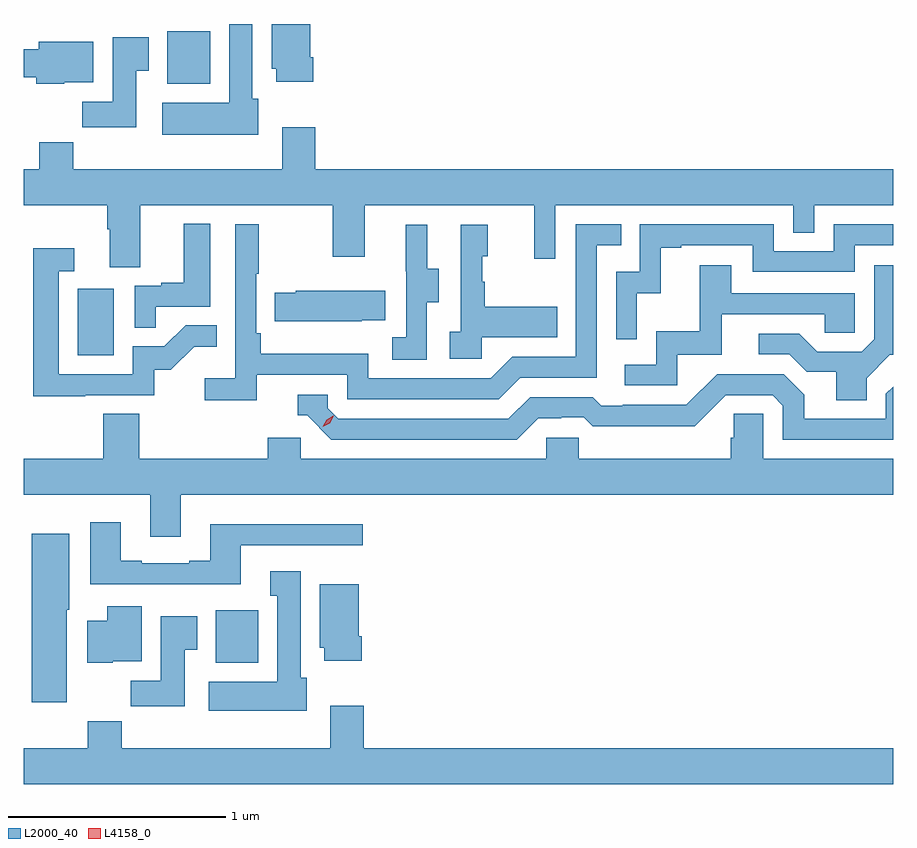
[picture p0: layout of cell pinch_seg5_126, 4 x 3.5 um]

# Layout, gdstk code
import gdstk
lib = gdstk.Library(unit=1e-6, precision=1e-09)
def R(c, l, rs):  # rectangles x0, y0, x1, y1
    for r in rs: c.add(gdstk.rectangle(r[:2], r[2:], *l))
def P(c, l, *ps):  # polygons
    for p in ps: c.add(gdstk.Polygon(p, *l))
L2000_40 = (2000, 40)
L4158_0 = (4158, 0)

pinch_seg5_126 = lib.new_cell('pinch_seg5_126')
R(pinch_seg5_126, L2000_40, [(1077.929,883.958,1078.126,884.2), (1077.296,885.372,1077.46,885.679), (1077.707,886.622,1077.904,886.864)])
P(pinch_seg5_126, L2000_40, [(1078.379,886.744),(1078.366,886.744),(1078.366,886.897),(1078.187,886.897),(1078.187,886.692),(1078.208,886.692),(1078.208,886.632),(1078.379,886.632)],
  [(1078.126,886.554),(1078.099,886.554),(1078.099,886.897),(1077.992,886.897),(1077.992,886.534),(1077.683,886.534),(1077.683,886.388),(1078.126,886.388)],
  [(1077.565,886.681),(1077.622,886.681),(1077.622,886.837),(1077.455,886.837),(1077.455,886.54),(1077.316,886.54),(1077.316,886.422),(1077.565,886.422)],
  [(1077.234,886.628),(1077.367,886.628),(1077.367,886.816),(1077.116,886.816),(1077.116,886.78),(1077.047,886.78),(1077.047,886.651),(1077.104,886.651),(1077.104,886.622),(1077.234,886.622)],
  [(1077.583,886.064),(1078.468,886.064),(1078.468,885.825),(1078.615,885.825),(1078.615,886.064),(1079.396,886.064),(1079.396,885.816),(1079.493,885.816),(1079.493,886.064),(1080.588,886.064),(1080.588,885.937),(1080.684,885.937),(1080.684,886.064),(1081.047,886.064),(1081.047,886.228),(1078.388,886.228),(1078.388,886.423),(1078.235,886.423),(1078.235,886.228),(1077.275,886.228),(1077.275,886.352),(1077.119,886.352),(1077.119,886.228),(1077.047,886.228),(1077.047,886.064),(1077.431,886.064),(1077.431,885.952),(1077.443,885.952),(1077.443,885.778),(1077.583,885.778)],
  [(1077.653,885.597),(1077.904,885.597),(1077.904,885.979),(1077.782,885.979),(1077.782,885.706),(1077.679,885.706),(1077.679,885.693),(1077.558,885.693),(1077.558,885.499),(1077.653,885.499)],
  [(1078.118,885.282),(1078.536,885.282),(1078.536,885.171),(1079.233,885.171),(1079.332,885.27),(1079.682,885.27),(1079.682,885.879),(1079.795,885.879),(1079.795,885.975),(1079.586,885.975),(1079.586,885.366),(1079.295,885.366),(1079.196,885.267),(1078.632,885.267),(1078.632,885.379),(1078.136,885.379),(1078.136,885.475),(1078.116,885.475),(1078.116,885.748),(1078.129,885.748),(1078.129,885.976),(1078.02,885.976),(1078.02,885.268),(1077.879,885.268),(1077.879,885.166),(1078.118,885.166)],
  [(1079.868,885.659),(1079.978,885.659),(1079.978,885.867),(1080.073,885.867),(1080.073,885.879),(1080.402,885.879),(1080.402,885.756),(1080.87,885.756),(1080.87,885.879),(1081.047,885.879),(1081.047,885.975),(1080.774,885.975),(1080.774,885.852),(1080.498,885.852),(1080.498,885.975),(1079.88,885.975),(1079.88,885.756),(1079.772,885.756),(1079.772,885.447),(1079.868,885.447)],
  [(1078.902,885.616),(1078.957,885.616),(1078.957,885.771),(1078.903,885.771),(1078.903,885.973),(1078.805,885.973),(1078.805,885.759),(1078.806,885.759),(1078.806,885.455),(1078.743,885.455),(1078.743,885.352),(1078.902,885.352)],
  [(1079.154,885.455),(1079.501,885.455),(1079.501,885.595),(1079.167,885.595),(1079.167,885.71),(1079.157,885.71),(1079.157,885.828),(1079.182,885.828),(1079.182,885.973),(1079.058,885.973),(1079.058,885.482),(1079.007,885.482),(1079.007,885.357),(1079.154,885.357)],
  [(1077.329,885.189),(1077.648,885.189),(1077.648,885.306),(1077.724,885.306),(1077.831,885.413),(1077.935,885.413),(1077.935,885.512),(1077.792,885.512),(1077.694,885.414),(1077.549,885.414),(1077.549,885.285),(1077.207,885.285),(1077.207,885.759),(1077.28,885.759),(1077.28,885.865),(1077.091,885.865),(1077.091,885.184),(1077.329,885.184)],
  [(1080.925,885.268),(1081.032,885.375),(1081.047,885.375),(1081.047,885.787),(1080.96,885.787),(1080.96,885.447),(1080.903,885.39),(1080.697,885.39),(1080.616,885.471),(1080.429,885.471),(1080.429,885.378),(1080.57,885.378),(1080.65,885.298),(1080.785,885.298),(1080.785,885.166),(1080.925,885.166)],
  [(1080.054,885.375),(1080.259,885.375),(1080.259,885.561),(1080.733,885.561),(1080.733,885.477),(1080.87,885.477),(1080.87,885.657),(1080.301,885.657),(1080.301,885.787),(1080.157,885.787),(1080.157,885.484),(1079.958,885.484),(1079.958,885.33),(1079.811,885.33),(1079.811,885.234),(1080.054,885.234)],
  [(1078.601,885.533),(1078.709,885.533),(1078.709,885.67),(1078.299,885.67),(1078.299,885.66),(1078.201,885.66),(1078.201,885.53),(1078.601,885.53)],
  [(1079.413,885.084),(1079.52,885.084),(1079.52,885.087),(1079.623,885.087),(1079.665,885.045),(1079.898,885.045),(1079.898,885.047),(1080.134,885.047),(1080.276,885.189),(1080.492,885.189),(1080.54,885.141),(1080.54,884.985),(1081.047,884.985),(1081.047,885.228),(1081.014,885.195),(1081.014,885.081),(1080.637,885.081),(1080.637,885.191),(1080.543,885.285),(1080.237,885.285),(1080.096,885.144),(1079.803,885.144),(1079.803,885.141),(1079.704,885.141),(1079.665,885.18),(1079.376,885.18),(1079.277,885.081),(1078.494,885.081),(1078.446,885.129),(1078.446,885.192),(1078.307,885.192),(1078.307,885.096),(1078.35,885.096),(1078.461,884.985),(1079.314,884.985)],
  [(1077.769,884.732),(1081.047,884.732),(1081.047,884.896),(1080.45,884.896),(1080.45,885.104),(1080.313,885.104),(1080.313,884.994),(1080.299,884.994),(1080.299,884.896),(1079.601,884.896),(1079.601,884.994),(1079.451,884.994),(1079.451,884.896),(1078.32,884.896),(1078.32,884.994),(1078.169,884.994),(1078.169,884.896),(1077.578,884.896),(1077.578,885.104),(1077.413,885.104),(1077.413,884.896),(1077.047,884.896),(1077.047,884.732),(1077.629,884.732),(1077.629,884.538),(1077.769,884.538)],
  [(1078.045,884.499),(1078.606,884.499),(1078.606,884.596),(1077.905,884.596),(1077.905,884.428),(1077.809,884.428),(1077.809,884.415),(1077.589,884.415),(1077.589,884.428),(1077.493,884.428),(1077.493,884.605),(1077.353,884.605),(1077.353,884.319),(1077.685,884.319),(1077.685,884.318),(1078.045,884.318)],
  [(1077.244,884.202),(1077.256,884.202),(1077.256,884.551),(1077.083,884.551),(1077.083,883.776),(1077.244,883.776)],
  [(1078.348,883.89),(1078.321,883.89),(1078.321,884.38),(1078.181,884.38),(1078.181,884.267),(1078.214,884.267),(1078.214,883.87),(1077.897,883.87),(1077.897,883.736),(1078.348,883.736)],
  [(1078.601,884.08),(1078.588,884.08),(1078.588,884.32),(1078.409,884.32),(1078.409,884.028),(1078.43,884.028),(1078.43,883.968),(1078.601,883.968)],
  [(1077.456,883.964),(1077.589,883.964),(1077.589,884.218),(1077.431,884.218),(1077.431,884.152),(1077.338,884.152),(1077.338,883.958),(1077.456,883.958)],
  [(1077.787,884.017),(1077.844,884.017),(1077.844,884.173),(1077.677,884.173),(1077.677,883.876),(1077.538,883.876),(1077.538,883.758),(1077.787,883.758)],
  [(1081.047,883.564),(1078.61,883.564),(1078.61,883.759),(1078.457,883.759),(1078.457,883.564),(1077.497,883.564),(1077.497,883.688),(1077.341,883.688),(1077.341,883.564),(1077.047,883.564),(1077.047,883.4),(1081.047,883.4)])
P(pinch_seg5_126, L4158_0, [(1078.423,885.043),(1078.423,885.043),(1078.44,885.075),(1078.471,885.094),(1078.472,885.094),(1078.472,885.094),(1078.455,885.061),(1078.423,885.043)])

lib.write_gds('pinch_seg5_126.gds')
